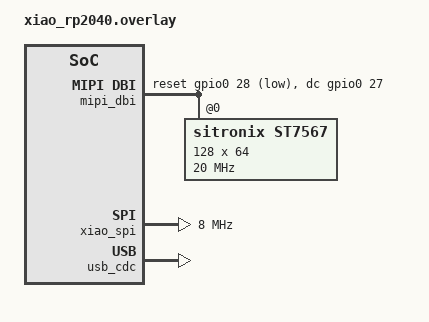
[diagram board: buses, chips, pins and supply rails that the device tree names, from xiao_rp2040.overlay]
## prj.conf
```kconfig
CONFIG_GPIO=y
CONFIG_SPI=y
CONFIG_HEAP_MEM_POOL_SIZE=32678
CONFIG_MAIN_STACK_SIZE=4096

CONFIG_LOG=y
CONFIG_LOG_DEFAULT_LEVEL=3
CONFIG_DISPLAY=y
CONFIG_ST7567=y
CONFIG_ST7567_DEFAULT_CONTRAST=0
CONFIG_MIPI_DBI=y
CONFIG_MIPI_DBI_SPI=y
CONFIG_LVGL=y
CONFIG_LV_Z_MEM_POOL_SIZE=16384
CONFIG_LV_COLOR_DEPTH_1=y
CONFIG_LV_Z_VDB_SIZE=100
CONFIG_LV_Z_FULL_REFRESH=y
CONFIG_DISPLAY_LOG_LEVEL_ERR=y
#CONFIG_LVGL_LOG_LEVEL=0
CONFIG_LV_USE_LABEL=y
#CONFIG_LV_FONT_MONTSERRAT_14=y
CONFIG_LV_FONT_DEFAULT_UNSCII_16=y # 16 or 8 monospace
CONFIG_LV_FONT_UNSCII_16=y
CONFIG_LV_USE_LOG=y

CONFIG_USB_DEVICE_STACK=y
CONFIG_USB_DEVICE_PRODUCT="Zephyr Weather Station"
CONFIG_USB_DEVICE_PID=0x0004
CONFIG_USB_CDC_ACM=y
CONFIG_USB_DEVICE_INITIALIZE_AT_BOOT=y
CONFIG_CONSOLE=y
CONFIG_SERIAL=y
CONFIG_UART_CONSOLE=y
#CONFIG_LV_USE_ILI9341=y
CONFIG_LV_USE_GENERIC_MIPI=y
```

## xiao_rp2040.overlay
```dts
// https://github.com/zephyrproject-rtos/zephyr/issues/86929
// https://www.seeedstudio.com/XIAO-RP2040-v1-0-p-5026.html
// https://docs.zephyrproject.org/latest/boards/seeed/xiao_rp2040/doc/index.html
// https://github.com/zephyrproject-rtos/zephyr/blob/main/boards/seeed/xiao_rp2040/xiao_rp2040.dts
// zephyr/dts/bindings/display/sitronix,st7565-common.yaml


/ {
    chosen {
        zephyr,display = &st7567;
        zephyr,console = &usb_cdc;
    };

    mipi_dbi {
        compatible      = "zephyr,mipi-dbi-spi";
        spi-dev         = <&xiao_spi>;
        dc-gpios        = <&gpio0 27 GPIO_ACTIVE_HIGH>; // pin P27/D1
        reset-gpios     = <&gpio0 28 GPIO_ACTIVE_LOW>;  // pin P28/D2
        write-only;
        #address-cells  = <1>;
        #size-cells     = <0>;

        st7567: st7567@0 {
            compatible          = "sitronix,st7567";
            mipi-max-frequency  = <20000000>;       // 20MHz
            mipi-mode = "MIPI_DBI_MODE_SPI_4WIRE";
            reg                 = <0>;              // Uses cs-gpios[0]
            width               = <128>;
            height              = <64>;
            status              = "okay";
            column-offset       = <0>;
            line-offset         = <0>;
            regulation-ratio    = <0x3>;            // 3bits
            //segment-invdir;                         // flipX=True
            com-invdir;
            bias;
        };
    };
};


// XIAO RP2040 SPI_TX P3, SPI_SCK P2
&xiao_spi {
    status          = "okay";
    clock-frequency = <8000000>; // be safe
    cs-gpios        = <&gpio0 26 GPIO_ACTIVE_LOW>;  // PIN D0/P26
};

&zephyr_udc0 {
    usb_cdc: usb_cdc_0 {
        compatible = "zephyr,cdc-acm-uart";
    };
};
```

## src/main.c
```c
#include <zephyr/kernel.h>
#include <zephyr/device.h>
#include <zephyr/drivers/display.h>
#include <lvgl.h>

int main(void) {
    printk("Starting\n");
    k_msleep(100);
    const struct device *display_dev = DEVICE_DT_GET(DT_CHOSEN(zephyr_display));
    
    if (!device_is_ready(display_dev)) {
        printk("Display not ready!\n");
        return -1;
    }

    // Create UI
    lv_obj_t *scr = lv_screen_active();
    lv_obj_set_style_bg_color(scr, lv_color_black(), 0); // Background: 0 (backlight)
    lv_obj_set_style_bg_opa(scr, LV_OPA_COVER, 0);

    lv_obj_t *label = lv_label_create(scr);
    lv_label_set_text(label, "Hello");
    lv_obj_align(label, LV_ALIGN_CENTER, 0, 0);
    lv_obj_set_style_text_color(label, lv_color_white(), 0); // Text: 1 (pixels on)

    display_blanking_off(display_dev);

    printk("Entering loop\n");
    while (1) {
        if (lv_timer_handler() != LV_RES_OK) {
            printk("Timer handler failed.\n");
        }
        k_msleep(50);
    }

    return 0;
}

/* vim: set expandtab shiftwidth=4 softtabstop=4 tabstop=4 : */
```
